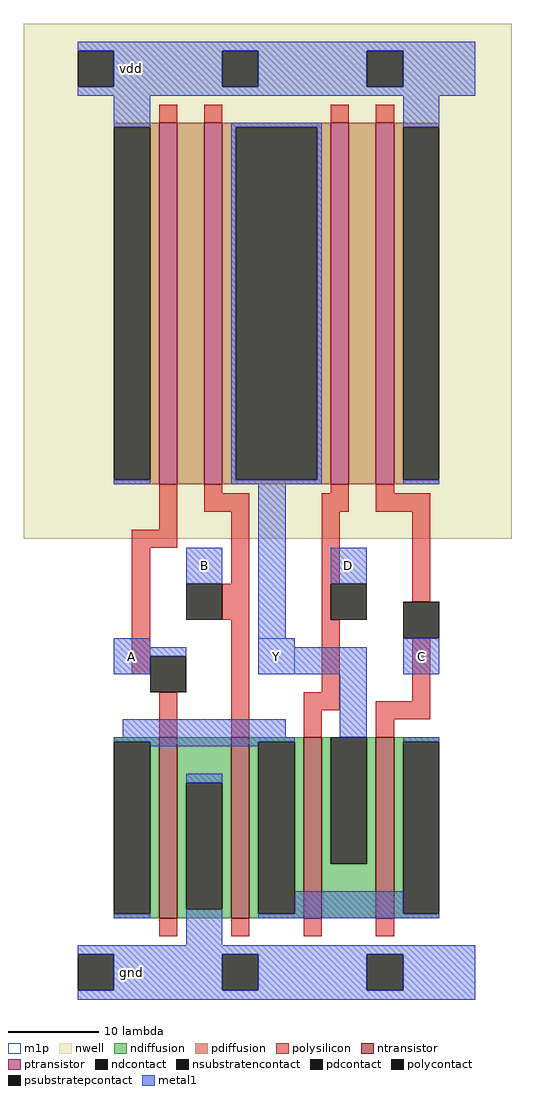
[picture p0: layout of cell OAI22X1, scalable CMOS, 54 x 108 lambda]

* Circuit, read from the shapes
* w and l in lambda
.subckt OAI22X1 A B C D Y vdd gnd
M1 gnd A n1 gnd nfet w=20 l=2
M2 n1 B gnd gnd nfet w=20 l=2
M3 Y D n1 gnd nfet w=20 l=2
M4 n1 C Y gnd nfet w=20 l=2
M5 n2 A vdd vdd pfet w=40 l=2
M6 Y B n2 vdd pfet w=40 l=2
M7 n3 D Y vdd pfet w=40 l=2
M8 vdd C n3 vdd pfet w=40 l=2
.ends

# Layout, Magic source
magic
tech scmos
magscale 1 2
<< nwell >>
rect -16 96 92 210
<< ntransistor >>
rect 14 12 18 52
rect 30 12 34 52
rect 46 12 50 52
rect 62 12 66 52
<< ptransistor >>
rect 14 108 18 188
rect 24 108 28 188
rect 52 108 56 188
rect 62 108 66 188
<< ndiffusion >>
rect 4 51 14 52
rect 12 13 14 51
rect 4 12 14 13
rect 18 42 30 52
rect 18 14 20 42
rect 28 14 30 42
rect 18 12 30 14
rect 34 51 46 52
rect 34 13 36 51
rect 44 13 46 51
rect 34 12 46 13
rect 50 24 52 52
rect 60 24 62 52
rect 50 12 62 24
rect 66 51 76 52
rect 66 13 68 51
rect 66 12 76 13
<< pdiffusion >>
rect 4 187 14 188
rect 12 109 14 187
rect 4 108 14 109
rect 18 108 24 188
rect 28 187 52 188
rect 28 109 31 187
rect 49 109 52 187
rect 28 108 52 109
rect 56 108 62 188
rect 66 187 76 188
rect 66 109 68 187
rect 66 108 76 109
<< ndcontact >>
rect 4 13 12 51
rect 20 14 28 42
rect 36 13 44 51
rect 52 24 60 52
rect 68 13 76 51
<< pdcontact >>
rect 4 109 12 187
rect 31 109 49 187
rect 68 109 76 187
<< psubstratepcontact >>
rect -4 -4 4 4
rect 28 -4 36 4
rect 60 -4 68 4
<< nsubstratencontact >>
rect -4 196 4 204
rect 28 196 36 204
rect 60 196 68 204
<< polysilicon >>
rect 14 188 18 192
rect 24 188 28 192
rect 52 188 56 192
rect 62 188 66 192
rect 14 98 18 108
rect 24 106 28 108
rect 52 106 56 108
rect 24 102 34 106
rect 8 94 18 98
rect 8 66 12 94
rect 30 86 34 102
rect 28 78 34 86
rect 14 52 18 62
rect 30 52 34 78
rect 50 102 56 106
rect 62 106 66 108
rect 62 102 74 106
rect 50 86 54 102
rect 50 78 52 86
rect 70 82 74 102
rect 50 62 54 78
rect 46 58 54 62
rect 70 60 74 74
rect 46 52 50 58
rect 62 56 74 60
rect 62 52 66 56
rect 14 8 18 12
rect 30 8 34 12
rect 46 8 50 12
rect 62 8 66 12
<< polycontact >>
rect 20 78 28 86
rect 12 62 20 70
rect 52 78 60 86
rect 68 74 76 82
<< metal1 >>
rect -4 204 84 206
rect 4 196 28 204
rect 36 196 60 204
rect 68 196 84 204
rect -4 194 84 196
rect 4 187 12 194
rect 4 108 12 109
rect 30 187 50 188
rect 30 109 31 187
rect 49 109 50 187
rect 30 108 50 109
rect 68 187 76 194
rect 68 108 76 109
rect 20 86 28 94
rect 36 74 42 108
rect 52 86 60 94
rect 4 72 12 74
rect 36 72 44 74
rect 4 70 20 72
rect 4 66 12 70
rect 36 66 60 72
rect 68 66 76 74
rect 6 52 42 56
rect 54 52 60 66
rect 4 51 44 52
rect 12 50 36 51
rect 4 12 12 13
rect 20 42 28 44
rect 20 6 28 14
rect 68 51 76 52
rect 44 13 68 18
rect 36 12 76 13
rect -4 4 84 6
rect 4 -4 28 4
rect 36 -4 60 4
rect 68 -4 84 4
rect -4 -6 84 -4
<< m1p >>
rect 20 86 28 94
rect 52 86 60 94
rect 4 66 12 74
rect 36 66 44 74
rect 68 66 76 74
<< labels >>
rlabel metal1 8 0 8 0 4 gnd
port 7 se
rlabel metal1 8 200 8 200 4 vdd
port 6 se
rlabel metal1 56 90 56 90 4 D
port 4 se
rlabel metal1 72 70 72 70 4 C
port 3 se
rlabel metal1 8 70 8 70 4 A
port 1 se
rlabel metal1 24 90 24 90 4 B
port 2 se
rlabel metal1 40 70 40 70 4 Y
port 5 se
<< end >>
